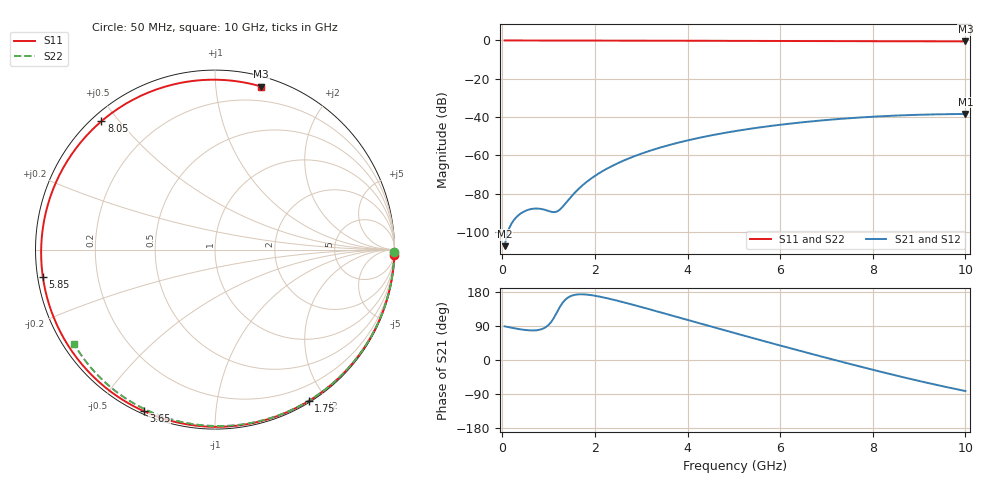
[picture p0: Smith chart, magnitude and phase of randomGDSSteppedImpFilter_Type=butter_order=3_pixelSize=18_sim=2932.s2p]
! freq	dB(S11)	phase(S11)	dB(S12)	phase(S12)
!  dB(S21)	phase(S21)	dB(S22)	phase(S22)
!S-par simulation data
#  GHz  S  DB  R 50
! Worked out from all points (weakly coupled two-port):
!   200 points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, 50 MHz to 10 GHz, reference 50 ohm
!   highest |S21| = -38.33 dB at 10 GHz (marker M1); lowest = -107.3 dB at 50 MHz (marker M2)
!   lowest |S11| = -0.5 dB at 10 GHz (marker M3), VSWR 34.96, Z = 3.93 + j66 ohm
!   |S11| at or under -10 dB: nowhere
!   |S22| runs from -0.5 to 0.0 dB; largest |S21 - S12| = 0
!   S11 on the Smith chart (normalised r, x): 50 MHz: 0, -66; 1.75 GHz: 0.02, -1.80; 3.65 GHz: 0.01, -0.65; 5.85 GHz: 0.01, -0.08; 8.05 GHz: 0.03, +0.45; 10 GHz: 0.08, +1.32
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0.05  -0.00 -1.7  -107.29 88.9  -107.29 88.9  -0.00 -0.9
0.4  -0.02 -13.7  -90.20 80.8  -90.20 80.8  -0.01 -6.8
0.75  -0.03 -25.5  -87.66 78.6  -87.66 78.6  -0.02 -12.7
1.5  -0.06 -50.2  -81.10 169.7  -81.10 169.7  -0.03 -25.2
1.55  -0.06 -51.8  -79.78 171.5  -79.78 171.5  -0.03 -26.0
1.75  -0.07 -58.2  -75.19 173.2  -75.19 173.2  -0.04 -29.3
2.05  -0.08 -67.6  -69.87 168.5  -69.87 168.5  -0.04 -34.2
2.45  -0.10 -79.7  -64.53 157.6  -64.53 157.6  -0.05 -40.7
2.9  -0.11 -92.9  -59.94 143.2  -59.94 143.2  -0.06 -47.9
3.4  -0.13 -107.0  -55.94 126.3  -55.94 126.3  -0.07 -55.7
3.65  -0.14 -113.9  -54.24 117.8  -54.24 117.8  -0.08 -59.5
4.35  -0.17 -132.5  -50.28 93.8  -50.28 93.8  -0.10 -70.1
5.05  -0.21 -150.6  -47.19 70.0  -47.19 70.0  -0.12 -80.4
5.85  -0.25 -170.8  -44.42 43.2  -44.42 43.2  -0.16 -91.7
6.7  -0.31 167.5  -42.15 15.4  -42.15 15.4  -0.20 -103.3
7.35  -0.35 150.5  -40.81 -5.5  -40.81 -5.5  -0.24 -112.0
8.05  -0.40 131.5  -39.71 -27.3  -39.71 -27.3  -0.30 -121.2
8.35  -0.42 123.1  -39.34 -36.4  -39.34 -36.4  -0.32 -125.1
8.8  -0.44 110.2  -38.91 -49.6  -38.91 -49.6  -0.36 -130.9
9.2  -0.46 98.4  -38.63 -60.9  -38.63 -60.9  -0.40 -136.0
9.6  -0.48 86.4  -38.44 -71.7  -38.44 -71.7  -0.45 -141.2
10  -0.50 74.2  -38.33 -81.9  -38.33 -81.9  -0.49 -146.3
